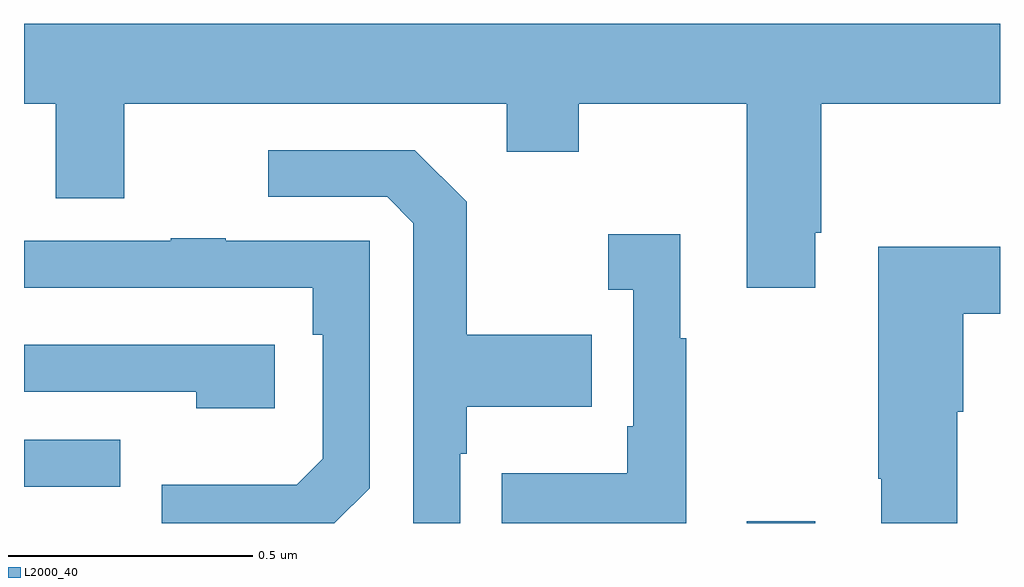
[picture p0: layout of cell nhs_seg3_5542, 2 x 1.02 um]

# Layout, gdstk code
import gdstk
lib = gdstk.Library(unit=1e-6, precision=1e-09)
def R(c, l, rs):  # rectangles x0, y0, x1, y1
    for r in rs: c.add(gdstk.rectangle(r[:2], r[2:], *l))
def P(c, l, *ps):  # polygons
    for p in ps: c.add(gdstk.Polygon(p, *l))
L2000_40 = (2000, 40)

nhs_seg3_5542 = lib.new_cell('nhs_seg3_5542')
R(nhs_seg3_5542, L2000_40, [(181.481,689.4,181.621,689.404), (180,689.475,180.197,689.571)])
P(nhs_seg3_5542, L2000_40, [(181.621,689.995),(181.634,689.995),(181.634,690.26),(182,690.26),(182,690.424),(180,690.424),(180,690.26),(180.065,690.26),(180.065,690.066),(180.205,690.066),(180.205,690.26),(180.989,690.26),(180.989,690.161),(181.137,690.161),(181.137,690.26),(181.481,690.26),(181.481,689.883),(181.621,689.883)],
  [(180.894,689.543),(180.907,689.543),(180.907,689.639),(181.163,689.639),(181.163,689.787),(180.907,689.787),(180.907,690.059),(180.801,690.165),(180.501,690.165),(180.501,690.069),(180.744,690.069),(180.798,690.015),(180.798,689.4),(180.894,689.4)],
  [(181.357,689.779),(181.345,689.779),(181.345,689.992),(181.197,689.992),(181.197,689.879),(181.248,689.879),(181.248,689.599),(181.236,689.599),(181.236,689.503),(180.979,689.503),(180.979,689.4),(181.357,689.4)],
  [(180.708,689.472),(180.708,689.979),(180.413,689.979),(180.413,689.984),(180.301,689.984),(180.301,689.979),(180,689.979),(180,689.883),(180.592,689.883),(180.592,689.786),(180.612,689.786),(180.612,689.532),(180.559,689.479),(180.282,689.479),(180.282,689.4),(180.636,689.4)],
  [(181.912,689.629),(181.925,689.629),(181.925,689.83),(182,689.83),(182,689.967),(181.75,689.967),(181.75,689.491),(181.757,689.491),(181.757,689.4),(181.912,689.4)],
  [(180.514,689.766),(180,689.766),(180,689.67),(180.353,689.67),(180.353,689.636),(180.514,689.636)])

lib.write_gds('nhs_seg3_5542.gds')
